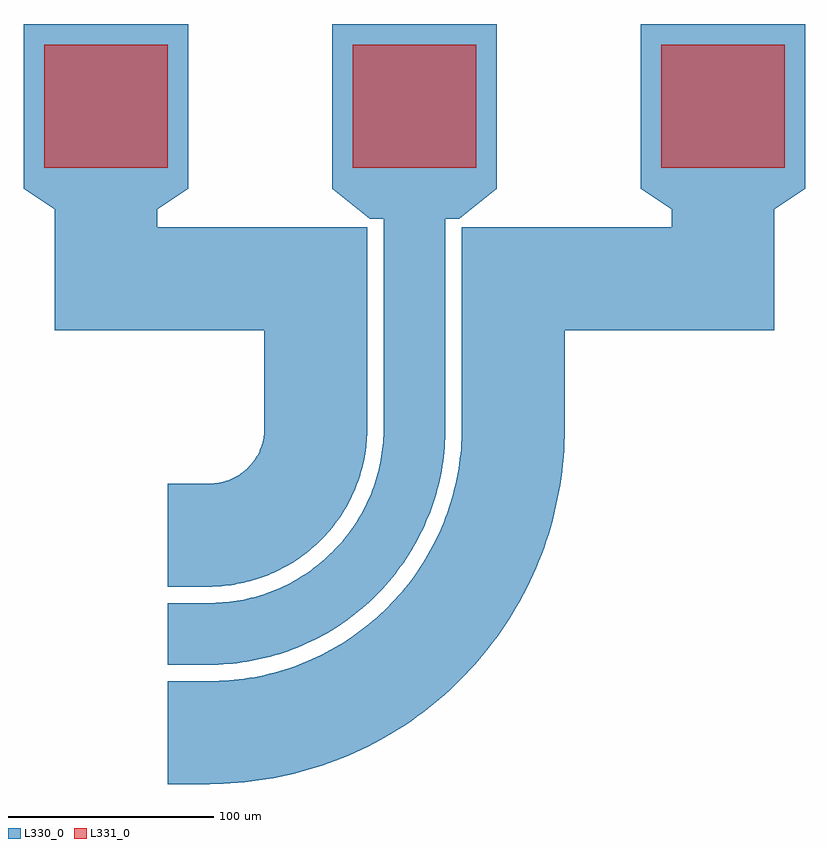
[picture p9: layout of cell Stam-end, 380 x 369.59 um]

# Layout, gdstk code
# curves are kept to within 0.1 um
import gdstk
lib = gdstk.Library(unit=1e-6, precision=5e-09)
def R(c, l, rs):  # rectangles x0, y0, x1, y1
    for r in rs: c.add(gdstk.rectangle(r[:2], r[2:], *l))
def A(c, l, x, y, w, h, nx, ny, dx, dy):  # array of equal rectangles
    R(c, l, [(x+i*dx, y+j*dy, x+i*dx+w, y+j*dy+h) for i in range(nx) for j in range(ny)])
def P(c, l, *ps):  # polygons
    for p in ps: c.add(gdstk.Polygon(p, *l))
L330_0 = (330, 0)
L331_0 = (331, 0)

stam_end = lib.new_cell('Stam-end')
P(stam_end, L330_0, [(0.04,23.005),(0.04,73.005),(21.67,73.055),(25.44,73.55),(29.615,74.76),(32.105,75.85),(34.47,77.185),(37.115,79.09),(39.13,80.915),(40.95,82.93),(42.86,85.575),(44.195,87.94),(45.285,90.43),(46.255,93.54),(47.02,97.77),(47.02,147.765),(-54.98,147.765),(-54.98,206.59),(-69.98,216.59),(-69.98,296.59),(10.02,296.59),(10.02,216.59),(-4.98,206.59),(-4.98,197.765),(97.02,197.765),(97.02,97.765),(96.9,95.355),(96.045,87.65),(95.16,83.085),(94,78.58),(92.57,74.155),(90.88,69.82),(87.485,62.855),(84.28,57.55),(80.655,52.515),(76.635,47.795),(72.25,43.41),(67.53,39.39),(62.495,35.765),(57.19,32.56),(51.64,29.79),(47.345,28.01),(41.465,26.045),(35.445,24.56),(29.32,23.565),(21.59,23.02)],
  [(0.04,-14.995),(0.04,15.005),(23.465,15.075),(30.285,15.625),(37.045,16.72),(42.04,17.9),(45.33,18.85),(51.775,21.15),(58.02,23.96),(61.05,25.55),(65.47,28.16),(69.725,31.035),(72.46,33.095),(75.115,35.26),(78.92,38.7),(81.345,41.12),(84.785,44.93),(89.005,50.32),(90.95,53.135),(93.655,57.505),(96.835,63.565),(98.24,66.685),(100.11,71.47),(101.685,76.355),(102.57,79.66),(103.65,84.68),(104.195,88.06),(104.765,93.165),(105.02,97.77),(105.02,201.92),(98.355,201.92),(80.02,216.59),(80.02,296.59),(160.02,296.59),(160.02,216.59),(141.68,201.92),(135.02,201.92),(135.02,97.685),(134.67,90.75),(134.205,86.14),(133.16,79.275),(131.7,72.48),(130.5,68.01),(128.37,61.395),(126.725,57.065),(123.94,50.705),(121.87,46.56),(117.24,38.54),(111.98,30.915),(107.64,25.49),(101.36,18.685),(94.55,12.405),(87.26,6.695),(79.535,1.59),(71.425,-2.88),(62.98,-6.68),(56.46,-9.08),(47.56,-11.655),(38.49,-13.51),(31.6,-14.415),(24.67,-14.905)],
  [(0.04,-72.995),(0.04,-22.995),(24.995,-22.9),(32.405,-22.375),(37.325,-21.78),(42.215,-20.985),(49.475,-19.425),(58.99,-16.67),(65.965,-14.105),(75,-10.04),(83.675,-5.26),(89.915,-1.225),(97.835,4.725),(105.245,11.295),(108.75,14.795),(112.11,18.44),(115.32,22.21),(118.375,26.11),(121.27,30.13),(124,34.265),(126.565,38.5),(128.955,42.84),(132.205,49.52),(134.145,54.08),(135.905,58.71),(138.185,65.78),(139.47,70.565),(141.025,77.83),(142.145,85.175),(142.645,90.105),(143.02,97.77),(143.02,197.765),(245.02,197.765),(245.02,206.59),(230.02,216.59),(230.02,296.59),(310.02,296.59),(310.02,216.59),(295.02,206.59),(295.02,147.765),(193.02,147.765),(193.02,97.77),(192.73,89.555),(192.17,82.61),(190.805,72.25),(189.55,65.4),(187.15,55.225),(184.14,45.22),(180.535,35.41),(176.34,25.84),(171.58,16.535),(168.095,10.5),(162.42,1.725),(156.225,-6.69),(149.535,-14.72),(142.375,-22.33),(134.765,-29.49),(126.735,-36.185),(118.32,-42.375),(109.54,-48.05),(100.44,-53.185),(91.045,-57.76),(81.39,-61.76),(71.51,-65.165),(61.445,-67.975),(54.645,-69.505),(44.35,-71.285),(37.43,-72.125),(27.005,-72.86),(20.41,-72.995)])
A(stam_end, L331_0, -59.98, 226.59, 60, 60, 3, 1, 150, 0)

lib.write_gds('Stam-end.gds')
